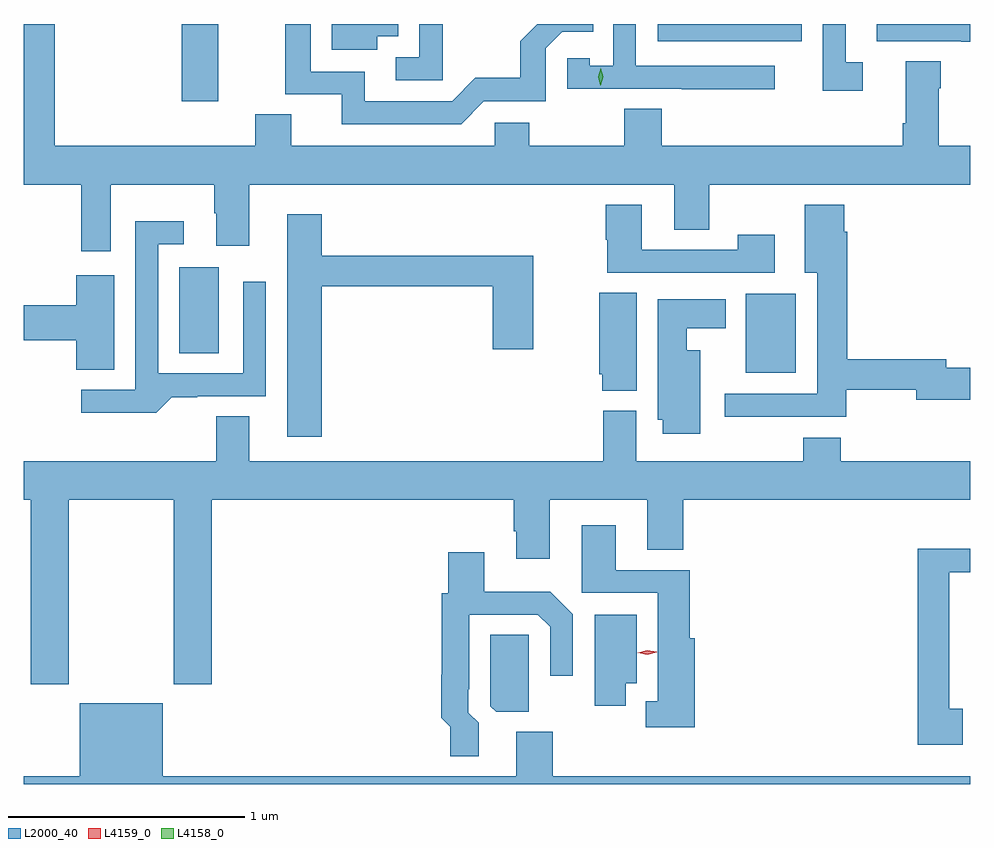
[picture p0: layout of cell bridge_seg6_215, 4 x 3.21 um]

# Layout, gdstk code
import gdstk
lib = gdstk.Library(unit=1e-6, precision=1e-09)
def R(c, l, rs):  # rectangles x0, y0, x1, y1
    for r in rs: c.add(gdstk.rectangle(r[:2], r[2:], *l))
def P(c, l, *ps):  # polygons
    for p in ps: c.add(gdstk.Polygon(p, *l))
L2000_40 = (2000, 40)
L4158_0 = (4158, 0)
L4159_0 = (4159, 0)

bridge_seg6_215 = lib.new_cell('bridge_seg6_215')
R(bridge_seg6_215, L2000_40, [(372.638,917.237,372.85,917.572), (370.244,917.32,370.411,917.683), (370.256,918.384,370.41,918.711), (372.267,918.639,372.874,918.711)])
P(bridge_seg6_215, L2000_40, [(371.357,918.711),(371.259,918.711),(371.259,918.57),(371.16,918.57),(371.16,918.474),(371.357,918.474)],
  [(373.587,918.711),(373.191,918.711),(373.191,918.639),(373.549,918.639),(373.549,918.637),(373.587,918.637)],
  [(371.532,918.384),(371.793,918.384),(371.793,918.609),(371.862,918.678),(371.993,918.678),(371.993,918.711),(371.757,918.711),(371.685,918.638),(371.685,918.483),(371.496,918.483),(371.397,918.384),(371.029,918.384),(371.029,918.51),(370.8,918.51),(370.8,918.711),(370.692,918.711),(370.692,918.414),(370.931,918.414),(370.931,918.288),(371.436,918.288)],
  [(371.08,918.659),(371.17,918.659),(371.17,918.711),(370.889,918.711),(370.889,918.602),(371.08,918.602)],
  [(369.955,918.032),(370.393,918.032),(370.393,917.912),(370.4,917.912),(370.4,917.775),(370.54,917.775),(370.54,918.032),(372.335,918.032),(372.335,917.842),(372.483,917.842),(372.483,918.032),(373.587,918.032),(373.587,918.196),(373.453,918.196),(373.453,918.44),(373.461,918.44),(373.461,918.553),(373.313,918.553),(373.313,918.292),(373.301,918.292),(373.301,918.196),(372.284,918.196),(372.284,918.353),(372.124,918.353),(372.124,918.196),(371.724,918.196),(371.724,918.294),(371.577,918.294),(371.577,918.196),(370.717,918.196),(370.717,918.329),(370.565,918.329),(370.565,918.196),(369.718,918.196),(369.718,918.711),(369.587,918.711),(369.587,918.032),(369.83,918.032),(369.83,917.751),(369.955,917.751)],
  [(373.132,918.549),(373.06,918.549),(373.06,918.711),(372.963,918.711),(372.963,918.429),(373.132,918.429)],
  [(372.76,918.534),(372.174,918.534),(372.174,918.711),(372.078,918.711),(372.078,918.535),(371.979,918.535),(371.979,918.567),(371.883,918.567),(371.883,918.438),(372.367,918.438),(372.367,918.436),(372.76,918.436)],
  [(372.76,917.821),(372.604,917.821),(372.604,917.757),(372.199,917.757),(372.199,917.947),(372.047,917.947),(372.047,917.799),(372.052,917.799),(372.052,917.661),(372.76,917.661)],
  [(373.062,917.166),(373.358,917.166),(373.358,917.123),(373.587,917.123),(373.587,917.258),(373.486,917.258),(373.486,917.294),(373.067,917.294),(373.067,917.834),(373.054,917.834),(373.054,917.947),(372.887,917.947),(372.887,917.66),(372.941,917.66),(372.941,917.148),(372.549,917.148),(372.549,917.051),(373.062,917.051)],
  [(370.847,917.602),(371.57,917.602),(371.57,917.337),(371.74,917.337),(371.74,917.731),(370.847,917.731),(370.847,917.908),(370.7,917.908),(370.7,916.968),(370.847,916.968)],
  [(370.213,917.134),(370.321,917.134),(370.321,917.139),(370.611,917.139),(370.611,917.623),(370.515,917.623),(370.515,917.235),(370.155,917.235),(370.155,917.781),(370.264,917.781),(370.264,917.878),(370.059,917.878),(370.059,917.166),(369.831,917.166),(369.831,917.069),(370.148,917.069)],
  [(369.97,917.65),(369.809,917.65),(369.809,917.522),(369.587,917.522),(369.587,917.375),(369.809,917.375),(369.809,917.251),(369.97,917.251)],
  [(372.178,917.576),(372.02,917.576),(372.02,917.232),(372.032,917.232),(372.032,917.161),(372.178,917.161)],
  [(372.445,917.332),(372.388,917.332),(372.388,917.426),(372.553,917.426),(372.553,917.548),(372.266,917.548),(372.266,917.04),(372.287,917.04),(372.287,916.98),(372.445,916.98)],
  [(369.777,916.7),(370.222,916.7),(370.222,915.921),(370.382,915.921),(370.382,916.7),(371.657,916.7),(371.657,916.567),(371.669,916.567),(371.669,916.452),(371.809,916.452),(371.809,916.7),(372.221,916.7),(372.221,916.489),(372.374,916.489),(372.374,916.7),(373.587,916.7),(373.587,916.864),(373.04,916.864),(373.04,916.963),(372.88,916.963),(372.88,916.864),(372.175,916.864),(372.175,917.076),(372.035,917.076),(372.035,916.864),(370.54,916.864),(370.54,917.054),(370.4,917.054),(370.4,916.864),(369.587,916.864),(369.587,916.7),(369.617,916.7),(369.617,915.921),(369.777,915.921)],
  [(372.422,916.116),(372.401,916.116),(372.401,916.404),(372.088,916.404),(372.088,916.594),(371.945,916.594),(371.945,916.308),(372.266,916.308),(372.266,915.85),(372.215,915.85),(372.215,915.74),(372.422,915.74)],
  [(373.555,915.818),(373.498,915.818),(373.498,916.395),(373.587,916.395),(373.587,916.493),(373.364,916.493),(373.364,915.665),(373.555,915.665)],
  [(371.509,915.758),(371.466,915.801),(371.466,915.901),(371.469,915.901),(371.469,916.215),(371.76,916.215),(371.811,916.164),(371.811,915.957),(371.907,915.957),(371.907,916.218),(371.813,916.312),(371.533,916.312),(371.533,916.48),(371.381,916.48),(371.381,916.305),(371.353,916.305),(371.353,915.962),(371.351,915.962),(371.351,915.78),(371.389,915.741),(371.389,915.618),(371.509,915.618)],
  [(372.13,915.926),(372.178,915.926),(372.178,916.216),(371.999,916.216),(371.999,915.83),(372.13,915.83)],
  [(371.722,916.019),(371.721,916.019),(371.721,916.13),(371.559,916.13),(371.559,915.828),(371.583,915.805),(371.722,915.805)],
  [(373.587,915.532),(371.822,915.532),(371.822,915.72),(371.669,915.72),(371.669,915.532),(370.174,915.532),(370.174,915.841),(369.824,915.841),(369.824,915.532),(369.587,915.532),(369.587,915.5),(373.587,915.5)])
P(bridge_seg6_215, L4158_0, [(372.024,918.453),(372.015,918.489),(372.025,918.525),(372.026,918.525),(372.026,918.525),(372.035,918.489),(372.025,918.453),(372.025,918.453)])
P(bridge_seg6_215, L4159_0, [(372.222,916.046),(372.182,916.055),(372.182,916.055),(372.182,916.055),(372.221,916.066),(372.261,916.058),(372.261,916.057),(372.261,916.057)])

lib.write_gds('bridge_seg6_215.gds')
